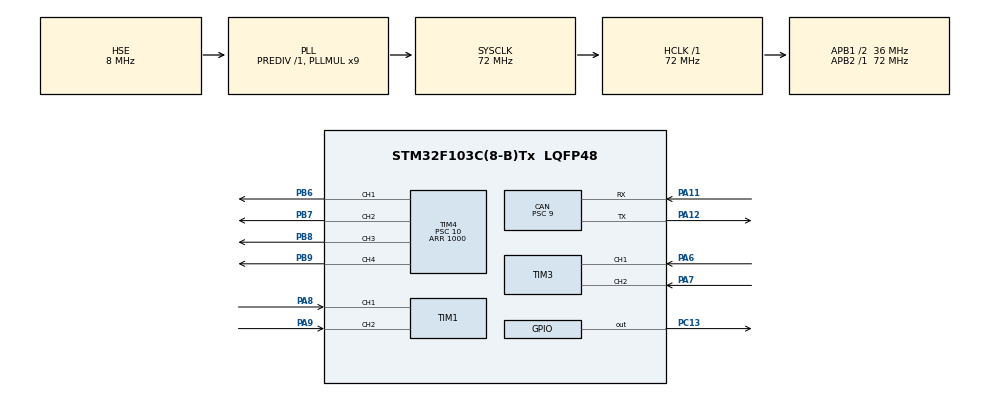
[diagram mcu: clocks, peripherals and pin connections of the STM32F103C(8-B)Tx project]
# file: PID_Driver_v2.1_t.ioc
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CAN.BS1=CAN_BS1_2TQ
CAN.CalculateBaudRate=1000000
CAN.CalculateTimeBit=1000
CAN.CalculateTimeQuantum=250.0
CAN.Prescaler=9
Mcu.Family=STM32F1
Mcu.Name=STM32F103C(8-B)Tx
Mcu.Package=LQFP48
NVIC.CAN1_RX1_IRQn=true\:0\:0\:false\:false\:true\:true\:true\:true
NVIC.PriorityGroup=NVIC_PRIORITYGROUP_4
NVIC.TIM2_IRQn=true\:0\:0\:false\:false\:true\:true\:true\:true
PA11.Mode=CAN_Activate
PA11.Signal=CAN_RX
PA12.Mode=CAN_Activate
PA12.Signal=CAN_TX
PA13.Mode=Serial_Wire
PA13.Signal=SYS_JTMS-SWDIO
PA14.Mode=Serial_Wire
PA14.Signal=SYS_JTCK-SWCLK
PA6.Signal=S_TIM3_CH1
PA7.Signal=S_TIM3_CH2
PA8.Signal=S_TIM1_CH1
PA9.Signal=S_TIM1_CH2
PB6.Signal=S_TIM4_CH1
PB7.Signal=S_TIM4_CH2
PB8.Signal=S_TIM4_CH3
PB9.Signal=S_TIM4_CH4
PC13-TAMPER-RTC.Signal=GPIO_Output
PD0-OSC_IN.Mode=HSE-External-Oscillator
PD0-OSC_IN.Signal=RCC_OSC_IN
PD1-OSC_OUT.Mode=HSE-External-Oscillator
PD1-OSC_OUT.Signal=RCC_OSC_OUT
ProjectManager.HeapSize=0x200
ProjectManager.StackSize=0x400
ProjectManager.TargetToolchain=STM32CubeIDE
RCC.AHBFreq_Value=72000000
RCC.APB1CLKDivider=RCC_HCLK_DIV2
RCC.APB1Freq_Value=36000000
RCC.APB1TimFreq_Value=72000000
RCC.APB2Freq_Value=72000000
RCC.APB2TimFreq_Value=72000000
RCC.HCLKFreq_Value=72000000
RCC.PLLMUL=RCC_PLL_MUL9
RCC.PLLSourceVirtual=RCC_PLLSOURCE_HSE
RCC.SYSCLKFreq_VALUE=72000000
RCC.SYSCLKSource=RCC_SYSCLKSOURCE_PLLCLK
RCC.USBFreq_Value=72000000
SH.S_TIM1_CH1.0=TIM1_CH1,Encoder_Interface
SH.S_TIM1_CH2.0=TIM1_CH2,Encoder_Interface
SH.S_TIM3_CH1.0=TIM3_CH1,Encoder_Interface
SH.S_TIM3_CH2.0=TIM3_CH2,Encoder_Interface
SH.S_TIM4_CH1.0=TIM4_CH1,PWM Generation1 CH1
SH.S_TIM4_CH2.0=TIM4_CH2,PWM Generation2 CH2
SH.S_TIM4_CH3.0=TIM4_CH3,PWM Generation3 CH3
SH.S_TIM4_CH4.0=TIM4_CH4,PWM Generation4 CH4
TIM1.EncoderMode=TIM_ENCODERMODE_TI12
TIM1.IC1Filter=10
TIM1.IC2Filter=10
TIM2.AutoReloadPreload=TIM_AUTORELOAD_PRELOAD_ENABLE
TIM2.Period=999
TIM2.Prescaler=719
TIM3.EncoderMode=TIM_ENCODERMODE_TI12
TIM3.IC1Filter=10
TIM3.IC2Filter=10
TIM4.AutoReloadPreload=TIM_AUTORELOAD_PRELOAD_ENABLE
TIM4.Channel-PWM\ Generation1\ CH1=TIM_CHANNEL_1
TIM4.Channel-PWM\ Generation2\ CH2=TIM_CHANNEL_2
TIM4.Channel-PWM\ Generation3\ CH3=TIM_CHANNEL_3
TIM4.Channel-PWM\ Generation4\ CH4=TIM_CHANNEL_4
TIM4.Period=1000
TIM4.Prescaler=10
VP_TIM2_VS_ClockSourceINT.Mode=Internal
VP_TIM4_VS_ClockSourceINT.Mode=Internal
board=custom

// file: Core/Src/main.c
/* USER CODE BEGIN Header */
/**
  ******************************************************************************
  * @file           : main.c
  * @brief          : Main program body
  ******************************************************************************
  * @attention
  *
  * Copyright (c) 2022 STMicroelectronics.
  * All rights reserved.
  *
  * This software is licensed under terms that can be found in the LICENSE file
  * in the root directory of this software component.
  * If no LICENSE file comes with this software, it is provided AS-IS.
  *
  ******************************************************************************
  */
/* USER CODE END Header */
#include "main.h"
#include "can.h"
#include "tim.h"
#include "gpio.h"

/* USER CODE BEGIN Includes */
#include "PID.h"
/* USER CODE END Includes */

/* USER CODE BEGIN PM */
#define Right 1
#define Left 2
uint8_t Driver = Right;

PIDController MPID;
#define MKp 7.92
#define MKi 136.48
#define MKd 0.0

// need to configuration
#define CPR 912
#define Sample_time 10 // ms
/* USER CODE END PD */

/* Private macro -------------------------------------------------------------*/
/* USER CODE BEGIN PM */
#define pi 3.1415
#define Motor1 0
#define Motor2 1

uint16_t cnt[2];
uint16_t Enc_count[2];

uint16_t count[2]; // count pulse from encoder
uint16_t new_count[2];
uint8_t count_state[2];
uint16_t diff[2]; // difference between count and new_count in a sample time

float speedM[2];
float rdps[2];

float Motor1_speed = 0;
float Motor2_speed = 0;
float V1 = 0; // target speed of motor1
float V2 = 0; // target speed of motor2
float pwm_M1 = 0;
float pwm_M2 = 0;

float RxData1 = 32768;
float RxData2 = 32768;
float RxData3 = 32768;
float RxData4 = 32768;

uint16_t V1_out = 32768;
uint16_t V2_out = 32768;

uint8_t flag = 0;
uint8_t cntt;
/* USER CODE END PM */

/* USER CODE BEGIN PV */
uint16_t test_encoder;

CAN_RxHeaderTypeDef RxHeader;
uint8_t RxData[8];
CAN_TxHeaderTypeDef TxHeader;
uint8_t TxData[4];
uint32_t TxMailbox;

float map(float Input, float Min_Input, float Max_Input, float Min_Output, float Max_Output)
{

	return (float)((Input - Min_Input) * (Max_Output - Min_Output) / (Max_Input - Min_Input) + Min_Output);
}

void HAL_CAN_RxFifo1MsgPendingCallback(CAN_HandleTypeDef *hcan)
{
	HAL_CAN_GetRxMessage(hcan, CAN_RX_FIFO1, &RxHeader, RxData);
	cntt++;
	while (cntt - 100 > 0)
	{
		HAL_GPIO_TogglePin(GPIOC, GPIO_PIN_13);
		cntt = 0;
	}
	if(Driver == Left && RxHeader.DLC == 4){
		flag = 1;
	}

	if (RxHeader.DLC == 8)
	{
		RxData1 = (RxData[0] << 8) | RxData[1];
		RxData2 = (RxData[2] << 8) | RxData[3];
		RxData3 = (RxData[4] << 8) | RxData[5];
		RxData4 = (RxData[6] << 8) | RxData[7];
		//
		if (Driver == Right)
		{
			V1 = map(RxData1, 0, 65536, -100, 100);
			V2 = map(RxData2, 0, 65536, -100, 100);
			flag = 1;
		}
		else if (Driver == Left)
		{
			V1 = map(RxData3, 0, 65536, -100, 100);
			V2 = map(RxData4, 0, 65536, -100, 100);
		}
		if(V1 > -0.005 && V1 < 0.005) V1 = 0;
		if(V2 > -0.005 && V2 < 0.005) V2 = 0;

	}
}
/* USER CODE END PV */

void SystemClock_Config(void);
/* USER CODE BEGIN PFP */
float Motors_RPS(int j, float SampleTime, float N_round)
{
	new_count[Motor1] = TIM3->CNT;
	new_count[Motor2] = TIM1->CNT;

	count_state[Motor1] = __HAL_TIM_IS_TIM_COUNTING_DOWN(&htim3);
	count_state[Motor2] = __HAL_TIM_IS_TIM_COUNTING_DOWN(&htim1);

	if (count_state[j])
	{
		if (new_count[j] <= count[j])
		{ // Check for counter underflow
			diff[j] = count[j] - new_count[j];
		}
		else
		{
			diff[j] = (65536 - new_count[j]) + count[j];
		}
		speedM[j] = (float)diff[j] * 1000.0f / (N_round * SampleTime) * -1.0;
	}
	else
	{
		if (new_count[j] >= count[j])
		{ // Check for counter overflow
			diff[j] = new_count[j] - count[j];
		}
		else
		{
			diff[j] = (65536 - count[j]) + new_count[j];
		}
		speedM[j] = (float)diff[j] * 1000.0f / (N_round * SampleTime);
	}

	rdps[j] = -2.0f * pi * speedM[j];
	count[j] = new_count[j];

	return rdps[j];
}
/* USER CODE END PFP */

int main(void)
{
  /* USER CODE BEGIN 1 */
	PID_Init(&MPID, 2);
	MPID.T = 0.01; // T = 20ms
	MPID.limMax = 1000;
	MPID.limMin = -1000;
	MPID.limMaxInt = 1000;
	MPID.limMinInt = -1000;
	MPID.tau = 0; // for Kd
  /* USER CODE END 1 */

  /* MCU Configuration--------------------------------------------------------*/

  /* Reset of all peripherals, Initializes the Flash interface and the Systick. */
  HAL_Init();

  /* Configure the system clock */
  SystemClock_Config();

  /* Initialize all configured peripherals */
  MX_GPIO_Init();
  MX_CAN_Init();
  MX_TIM1_Init();
  MX_TIM2_Init();
  MX_TIM3_Init();
  MX_TIM4_Init();
  /* USER CODE BEGIN 2 */
  // pwm
  HAL_TIM_PWM_Start(&htim4, TIM_CHANNEL_1);
  HAL_TIM_PWM_Start(&htim4, TIM_CHANNEL_2);
  HAL_TIM_PWM_Start(&htim4, TIM_CHANNEL_3);
  HAL_TIM_PWM_Start(&htim4, TIM_CHANNEL_4);
  // encoder
  HAL_TIM_Encoder_Start(&htim3, TIM_CHANNEL_ALL);
  HAL_TIM_Encoder_Start(&htim1, TIM_CHANNEL_ALL);
  // timer interrupt
  HAL_TIM_Base_Start_IT(&htim2);

	HAL_CAN_Start(&hcan);

	// Activate the notification
	HAL_CAN_ActivateNotification(&hcan, CAN_IT_RX_FIFO1_MSG_PENDING);

	TxHeader.DLC = 4; // data length
	TxHeader.IDE = CAN_ID_STD;
	TxHeader.RTR = CAN_RTR_DATA;
	if (Driver == Right)
	{
		TxHeader.StdId = 0x155; // ID
	}
	else if (Driver == Left)
	{
		TxHeader.StdId = 0x140; // ID
	}

	TxData[0] = 128; // ms delay
	TxData[1] = 0;
	TxData[2] = 128;
	TxData[3] = 0;
  /* USER CODE END 2 */

  /* Infinite loop */
  while (1)
  {

    /* USER CODE BEGIN 3 */
		V1_out = (uint16_t)map(Motor1_speed, -100, 100, 0, 65536);
		V2_out = (uint16_t)map(Motor2_speed, -100, 100, 0, 65536);

		TxData[0] = ((V1_out & 0xFF00) >> 8);
		TxData[1] = (V1_out & 0x00FF);
		TxData[2] = ((V2_out & 0xFF00) >> 8);
		TxData[3] = (V2_out & 0x00FF);
		//
		if (flag == 1)
		{
			HAL_CAN_AddTxMessage(&hcan, &TxHeader, TxData, &TxMailbox);
			flag = 0;
		}
  }
  /* USER CODE END 3 */
}

void SystemClock_Config(void)
{
  RCC_OscInitTypeDef RCC_OscInitStruct = {0};
  RCC_ClkInitTypeDef RCC_ClkInitStruct = {0};

  /** Initializes the RCC Oscillators according to the specified parameters
  * in the RCC_OscInitTypeDef structure.
  */
  RCC_OscInitStruct.OscillatorType = RCC_OSCILLATORTYPE_HSE;
  RCC_OscInitStruct.HSEState = RCC_HSE_ON;
  RCC_OscInitStruct.HSEPredivValue = RCC_HSE_PREDIV_DIV1;
  RCC_OscInitStruct.HSIState = RCC_HSI_ON;
  RCC_OscInitStruct.PLL.PLLState = RCC_PLL_ON;
  RCC_OscInitStruct.PLL.PLLSource = RCC_PLLSOURCE_HSE;
  RCC_OscInitStruct.PLL.PLLMUL = RCC_PLL_MUL9;
  if (HAL_RCC_OscConfig(&RCC_OscInitStruct) != HAL_OK)
  {
    Error_Handler();
  }

  /** Initializes the CPU, AHB and APB buses clocks
  */
  RCC_ClkInitStruct.ClockType = RCC_CLOCKTYPE_HCLK|RCC_CLOCKTYPE_SYSCLK
                              |RCC_CLOCKTYPE_PCLK1|RCC_CLOCKTYPE_PCLK2;
  RCC_ClkInitStruct.SYSCLKSource = RCC_SYSCLKSOURCE_PLLCLK;
  RCC_ClkInitStruct.AHBCLKDivider = RCC_SYSCLK_DIV1;
  RCC_ClkInitStruct.APB1CLKDivider = RCC_HCLK_DIV2;
  RCC_ClkInitStruct.APB2CLKDivider = RCC_HCLK_DIV1;

  if (HAL_RCC_ClockConfig(&RCC_ClkInitStruct, FLASH_LATENCY_2) != HAL_OK)
  {
    Error_Handler();
  }
}

/* USER CODE BEGIN 4 */
void HAL_TIM_PeriodElapsedCallback(TIM_HandleTypeDef *htim)
{
	if (htim->Instance == TIM2)
	{
		// PID // need to change for using
		pwm_M1 = PID(&MPID, V1, Motor1_speed, MKp, MKi, MKd, Motor1);
		pwm_M2 = PID(&MPID, V2, Motor2_speed, MKp, MKi, MKd, Motor2);
		// feedback speed
		Motor1_speed = Motors_RPS(Motor1, Sample_time, CPR);
		Motor2_speed = Motors_RPS(Motor2, Sample_time, CPR);

		if (pwm_M1 > 20)
		{
			TIM4->CCR2 = pwm_M1;
			TIM4->CCR1 = 0;
		}
		else if (pwm_M1 < -20)
		{
			TIM4->CCR2 = 0;
			TIM4->CCR1 = pwm_M1 * -1;
		}
		else
		{
			TIM4->CCR2 = 0;
			TIM4->CCR1 = 0;
		}
		if (pwm_M2 > 20)
		{
			TIM4->CCR4 = pwm_M2;
			TIM4->CCR3 = 0;
		}
		else if (pwm_M2 < -20)
		{
			TIM4->CCR4 = 0;
			TIM4->CCR3 = pwm_M2 * -1;
		}
		else
		{
			TIM4->CCR3 = 0;
			TIM4->CCR4 = 0;
		}
	}
}
/* USER CODE END 4 */

void Error_Handler(void)
{
  __disable_irq();
  while (1)
  {
  }
}
